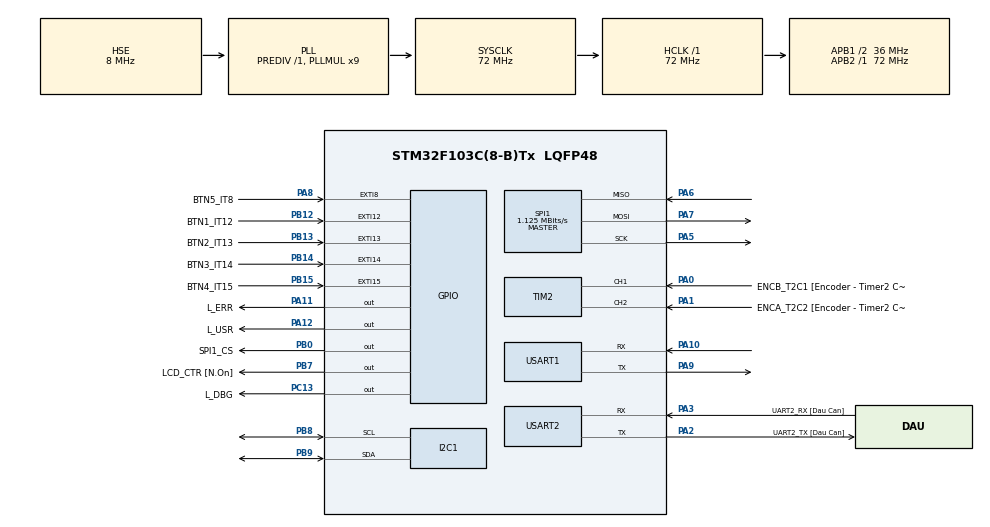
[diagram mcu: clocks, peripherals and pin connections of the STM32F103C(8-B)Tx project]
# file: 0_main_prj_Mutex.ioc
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FREERTOS.BinarySemaphores01=myBinarySem01,Dynamic,NULL
FREERTOS.Mutexes01=myMutex01,Dynamic,NULL
FREERTOS.Tasks01=Task1,0,128,StartTask1_Hand,Default,NULL,Dynamic,NULL,NULL;Task2,0,128,StartTask2_Hand,Default,NULL,Dynamic,NULL,NULL;Task03,0,128,StartTask03,Default,NULL,Dynamic,NULL,NULL
Mcu.Family=STM32F1
Mcu.Name=STM32F103C(8-B)Tx
Mcu.Package=LQFP48
NVIC.EXTI15_10_IRQn=true\:5\:0\:true\:false\:true\:true\:true\:true\:true
NVIC.EXTI9_5_IRQn=true\:5\:0\:true\:false\:true\:true\:true\:true\:true
NVIC.PriorityGroup=NVIC_PRIORITYGROUP_4
NVIC.TIM3_IRQn=true\:15\:0\:false\:false\:true\:false\:false\:true\:true
NVIC.TimeBase=TIM3_IRQn
NVIC.TimeBaseIP=TIM3
NVIC.USART1_IRQn=true\:5\:0\:false\:false\:true\:true\:true\:true\:true
NVIC.USART2_IRQn=true\:5\:0\:false\:false\:true\:true\:true\:true\:true
PA0-WKUP.GPIO_Label=ENCB_T2C1 [Encoder - Timer2 Channel1]
PA0-WKUP.Signal=S_TIM2_CH1_ETR
PA1.GPIO_Label=ENCA_T2C2 [Encoder - Timer2 Channel2]
PA1.Signal=S_TIM2_CH2
PA10.Mode=Asynchronous
PA10.Signal=USART1_RX
PA11.GPIO_Label=L_ERR
PA11.GPIO_PuPd=GPIO_PULLUP
PA11.Signal=GPIO_Output
PA12.GPIO_Label=L_USR
PA12.GPIO_PuPd=GPIO_PULLUP
PA12.Signal=GPIO_Output
PA13.Mode=Serial_Wire
PA13.Signal=SYS_JTMS-SWDIO
PA14.Mode=Serial_Wire
PA14.Signal=SYS_JTCK-SWCLK
PA2.GPIO_Label=UART2_TX [Dau Can]
PA2.Mode=Asynchronous
PA2.Signal=USART2_TX
PA3.GPIO_Label=UART2_RX [Dau Can]
PA3.Mode=Asynchronous
PA3.Signal=USART2_RX
PA5.Mode=Full_Duplex_Master
PA5.Signal=SPI1_SCK
PA6.Mode=Full_Duplex_Master
PA6.Signal=SPI1_MISO
PA7.Mode=Full_Duplex_Master
PA7.Signal=SPI1_MOSI
PA8.GPIO_Label=BTN5_IT8
PA8.GPIO_ModeDefaultEXTI=GPIO_MODE_IT_FALLING
PA8.GPIO_PuPd=GPIO_NOPULL
PA8.Signal=GPXTI8
PA9.Mode=Asynchronous
PA9.Signal=USART1_TX
PB0.GPIO_Label=SPI1_CS
PB0.Signal=GPIO_Output
PB12.GPIO_Label=BTN1_IT12
PB12.GPIO_ModeDefaultEXTI=GPIO_MODE_IT_FALLING
PB12.GPIO_PuPd=GPIO_NOPULL
PB12.Signal=GPXTI12
PB13.GPIO_Label=BTN2_IT13
PB13.GPIO_ModeDefaultEXTI=GPIO_MODE_IT_FALLING
PB13.GPIO_PuPd=GPIO_NOPULL
PB13.Signal=GPXTI13
PB14.GPIO_Label=BTN3_IT14
PB14.GPIO_ModeDefaultEXTI=GPIO_MODE_IT_FALLING
PB14.GPIO_PuPd=GPIO_NOPULL
PB14.Signal=GPXTI14
PB15.GPIO_Label=BTN4_IT15
PB15.GPIO_ModeDefaultEXTI=GPIO_MODE_IT_FALLING
PB15.GPIO_PuPd=GPIO_NOPULL
PB15.Signal=GPXTI15
PB7.GPIO_Label=LCD_CTR [N.On]
PB7.GPIO_PuPd=GPIO_PULLUP
PB7.Signal=GPIO_Output
PB8.Mode=I2C
PB8.Signal=I2C1_SCL
PB9.Mode=I2C
PB9.Signal=I2C1_SDA
PC13-TAMPER-RTC.GPIO_Label=L_DBG
PC13-TAMPER-RTC.GPIO_PuPd=GPIO_PULLUP
PC13-TAMPER-RTC.Signal=GPIO_Output
PC14-OSC32_IN.Mode=LSE-External-Oscillator
PC14-OSC32_IN.Signal=RCC_OSC32_IN
PC15-OSC32_OUT.Mode=LSE-External-Oscillator
PC15-OSC32_OUT.Signal=RCC_OSC32_OUT
PD0-OSC_IN.Mode=HSE-External-Oscillator
PD0-OSC_IN.Signal=RCC_OSC_IN
PD1-OSC_OUT.Mode=HSE-External-Oscillator
PD1-OSC_OUT.Signal=RCC_OSC_OUT
ProjectManager.HeapSize=0x200
ProjectManager.StackSize=0x400
ProjectManager.TargetToolchain=STM32CubeIDE
RCC.AHBFreq_Value=72000000
RCC.APB1CLKDivider=RCC_HCLK_DIV2
RCC.APB1Freq_Value=36000000
RCC.APB1TimFreq_Value=72000000
RCC.APB2Freq_Value=72000000
RCC.APB2TimFreq_Value=72000000
RCC.HCLKFreq_Value=72000000
RCC.PLLMUL=RCC_PLL_MUL9
RCC.PLLSourceVirtual=RCC_PLLSOURCE_HSE
RCC.SYSCLKFreq_VALUE=72000000
RCC.SYSCLKSource=RCC_SYSCLKSOURCE_PLLCLK
RCC.USBFreq_Value=48000000
RCC.USBPrescaler=RCC_USBCLKSOURCE_PLL_DIV1_5
SH.S_TIM2_CH1_ETR.0=TIM2_CH1,Encoder_Interface
SH.S_TIM2_CH2.0=TIM2_CH2,Encoder_Interface
SPI1.BaudRatePrescaler=SPI_BAUDRATEPRESCALER_64
SPI1.CalculateBaudRate=1.125 MBits/s
SPI1.Direction=SPI_DIRECTION_2LINES
SPI1.Mode=SPI_MODE_MASTER
SPI1.VirtualType=VM_MASTER
TIM2.EncoderMode=TIM_ENCODERMODE_TI1
USART1.VirtualMode=VM_ASYNC
USART2.VirtualMode=VM_ASYNC
VP_FREERTOS_VS_CMSIS_V1.Mode=CMSIS_V1
VP_SYS_VS_tim3.Mode=TIM3
VP_TIM1_VS_ClockSourceINT.Mode=Internal
board=custom

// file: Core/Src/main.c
/* USER CODE BEGIN Header */
/**
  ******************************************************************************
  * @file           : main.c
  * @brief          : Main program body
  ******************************************************************************
  * @attention
  *
  * Copyright (c) 2024 STMicroelectronics.
  * All rights reserved.
  *
  * This software is licensed under terms that can be found in the LICENSE file
  * in the root directory of this software component.
  * If no LICENSE file comes with this software, it is provided AS-IS.
  *
  ******************************************************************************
  */
/* USER CODE END Header */
#include "main.h"
#include "cmsis_os.h"

/* USER CODE BEGIN Includes */
#include "stdio.h"
#include "i2c-lcd.h"

/* USER CODE END Includes */

/* USER CODE BEGIN PTD */
#define ADDR_PCF8574 (0x3F << 1)
#define MUTEX (0)
#define SEMAF (1)
/* USER CODE END PTD */

/* USER CODE BEGIN PM */
void Init_Sys (void)
{
	HAL_GPIO_WritePin(L_ERR_GPIO_Port, L_ERR_Pin, GPIO_PIN_SET);
	HAL_GPIO_WritePin(L_USR_GPIO_Port, L_USR_Pin, GPIO_PIN_SET);
	HAL_GPIO_WritePin(L_DBG_GPIO_Port, L_DBG_Pin, GPIO_PIN_SET);

	HAL_GPIO_WritePin(LCD_CTR_GPIO_Port, LCD_CTR_Pin, GPIO_PIN_SET);
}
/* USER CODE END PM */

I2C_HandleTypeDef hi2c1;

SPI_HandleTypeDef hspi1;

TIM_HandleTypeDef htim1;
TIM_HandleTypeDef htim2;

UART_HandleTypeDef huart1;
UART_HandleTypeDef huart2;

osThreadId Task1Handle;
osThreadId Task2Handle;
osThreadId Task03Handle;
osMutexId myMutex01Handle;
osSemaphoreId myBinarySem01Handle;

void SystemClock_Config(void);
static void MX_GPIO_Init(void);
static void MX_SPI1_Init(void);
static void MX_TIM2_Init(void);
static void MX_USART1_UART_Init(void);
static void MX_TIM1_Init(void);
static void MX_I2C1_Init(void);
static void MX_USART2_UART_Init(void);
void StartTask1_Hand(void const * argument);
void StartTask2_Hand(void const * argument);
void StartTask03(void const * argument);

/* USER CODE BEGIN PFP */

#if (TEST_UART)
uint8_t rxData = 0;;
uint8_t rxArray[20] = {};
uint8_t rxCounter = 1;

void HAL_UART_RxCpltCallback(UART_HandleTypeDef *huart)
{
	if(&huart1 == huart)
	{

		if(rxData == '\r')
		{
			HAL_UART_Transmit(&huart1, rxArray, strlen((const char *)rxArray), 100);
			for(uint8_t i = 0; i < 20; i++)
			{
				rxArray[i] = 0;
				rxCounter = 0;
			}
		}
		else
		{
			rxArray[rxCounter] = rxData;
			rxCounter++;
		}
		if(rxCounter >= 20)
		{
			rxCounter = 0;
		}
		HAL_UART_Receive_IT(&huart1, &rxData, 1);
	}
	else if(&huart2 == huart)
	{
		if(rxData == '\r')
		{
			HAL_UART_Transmit(&huart2, rxArray, strlen((const char *)rxArray), 100);
			for(uint8_t i = 0; i < 20; i++)
			{
				rxArray[i] = 0;
				rxCounter = 0;
			}
		}
		else
		{
			rxArray[rxCounter] = rxData;
			rxCounter++;
		}
		if(rxCounter >= 20)
		{
			rxCounter = 0;
		}
		HAL_UART_Receive_IT(&huart2, &rxData, 1);
	}

}

void Task_action(char* sms)
{
	HAL_UART_Transmit(&huart1, sms, strlen(sms), 100);
	HAL_UART_Transmit(&huart1, "\n", 1, 100);
}
#endif /*TEST_UART*/
/* USER CODE END PFP */

int main(void)
{

  /* USER CODE BEGIN 1 */
	CLCD_I2C_Name LCD1;
  /* USER CODE END 1 */

  /* MCU Configuration--------------------------------------------------------*/

  /* Reset of all peripherals, Initializes the Flash interface and the Systick. */
  HAL_Init();

  /* Configure the system clock */
  SystemClock_Config();

  /* Initialize all configured peripherals */
  MX_GPIO_Init();
  MX_SPI1_Init();
  MX_TIM2_Init();
  MX_USART1_UART_Init();
  MX_TIM1_Init();
  MX_I2C1_Init();
  MX_USART2_UART_Init();
  /* USER CODE BEGIN 2 */
  Init_Sys();

  HAL_GPIO_WritePin(LCD_CTR_GPIO_Port, LCD_CTR_Pin, GPIO_PIN_RESET);

  CLCD_I2C_Init(&LCD1,&hi2c1,ADDR_PCF8574,20,4);
//  LCD_I2C_Init();

#if (TEST_UART)
  HAL_UART_Receive_IT(&huart1, &rxData, 1);
  HAL_UART_Receive_IT(&huart2, &rxData, 1);
#endif

  /* USER CODE END 2 */

  /* Create the mutex(es) */
  /* definition and creation of myMutex01 */
  osMutexDef(myMutex01);
  myMutex01Handle = osMutexCreate(osMutex(myMutex01));

  /* Create the semaphores(s) */
  /* definition and creation of myBinarySem01 */
  osSemaphoreDef(myBinarySem01);
  myBinarySem01Handle = osSemaphoreCreate(osSemaphore(myBinarySem01), 1);

  /* Create the thread(s) */
  /* definition and creation of Task1 */
  osThreadDef(Task1, StartTask1_Hand, osPriorityNormal, 0, 128);
  Task1Handle = osThreadCreate(osThread(Task1), NULL);

  /* definition and creation of Task2 */
  osThreadDef(Task2, StartTask2_Hand, osPriorityNormal, 0, 128);
  Task2Handle = osThreadCreate(osThread(Task2), NULL);

  /* definition and creation of Task03 */
  osThreadDef(Task03, StartTask03, osPriorityNormal, 0, 128);
  Task03Handle = osThreadCreate(osThread(Task03), NULL);

  /* Start scheduler */
  osKernelStart();

  /* We should never get here as control is now taken by the scheduler */

  /* Infinite loop */
  /* USER CODE BEGIN WHILE */
  while (1)
  {
#if (TEST_LED)
	  HAL_GPIO_TogglePin(L_ERR_GPIO_Port, L_ERR_Pin);
	  HAL_GPIO_TogglePin(L_DBG_GPIO_Port, L_DBG_Pin);
	  HAL_GPIO_TogglePin(L_USR_GPIO_Port, L_USR_Pin);

	  HAL_Delay(1000);
#endif

#if (TEST_LCD)
	  CLCD_I2C_SetCursor(&LCD1, 0, 0);
	  CLCD_I2C_WriteString(&LCD1, "ThuanLe");

	  CLCD_I2C_SetCursor(&LCD1, 0, 1);
	  CLCD_I2C_WriteString(&LCD1, "21CDTCLC2");

	  CLCD_I2C_SetCursor(&LCD1, 0, 2);
	  CLCD_I2C_WriteString(&LCD1, "GIAM SAT LOI DC");

	  CLCD_I2C_SetCursor(&LCD1, 0, 3);
	  CLCD_I2C_WriteString(&LCD1, "12345678");

	  HAL_Delay(1000);

	  CLCD_I2C_Clear(&LCD1);

#endif

    /* USER CODE END WHILE */

  }
}

void SystemClock_Config(void)
{
  RCC_OscInitTypeDef RCC_OscInitStruct = {0};
  RCC_ClkInitTypeDef RCC_ClkInitStruct = {0};

  /** Initializes the RCC Oscillators according to the specified parameters
  * in the RCC_OscInitTypeDef structure.
  */
  RCC_OscInitStruct.OscillatorType = RCC_OSCILLATORTYPE_HSE;
  RCC_OscInitStruct.HSEState = RCC_HSE_ON;
  RCC_OscInitStruct.HSEPredivValue = RCC_HSE_PREDIV_DIV1;
  RCC_OscInitStruct.HSIState = RCC_HSI_ON;
  RCC_OscInitStruct.PLL.PLLState = RCC_PLL_ON;
  RCC_OscInitStruct.PLL.PLLSource = RCC_PLLSOURCE_HSE;
  RCC_OscInitStruct.PLL.PLLMUL = RCC_PLL_MUL9;
  if (HAL_RCC_OscConfig(&RCC_OscInitStruct) != HAL_OK)
  {
    Error_Handler();
  }

  /** Initializes the CPU, AHB and APB buses clocks
  */
  RCC_ClkInitStruct.ClockType = RCC_CLOCKTYPE_HCLK|RCC_CLOCKTYPE_SYSCLK
                              |RCC_CLOCKTYPE_PCLK1|RCC_CLOCKTYPE_PCLK2;
  RCC_ClkInitStruct.SYSCLKSource = RCC_SYSCLKSOURCE_PLLCLK;
  RCC_ClkInitStruct.AHBCLKDivider = RCC_SYSCLK_DIV1;
  RCC_ClkInitStruct.APB1CLKDivider = RCC_HCLK_DIV2;
  RCC_ClkInitStruct.APB2CLKDivider = RCC_HCLK_DIV1;

  if (HAL_RCC_ClockConfig(&RCC_ClkInitStruct, FLASH_LATENCY_2) != HAL_OK)
  {
    Error_Handler();
  }
}

static void MX_I2C1_Init(void)
{

  hi2c1.Instance = I2C1;
  hi2c1.Init.ClockSpeed = 100000;
  hi2c1.Init.DutyCycle = I2C_DUTYCYCLE_2;
  hi2c1.Init.OwnAddress1 = 0;
  hi2c1.Init.AddressingMode = I2C_ADDRESSINGMODE_7BIT;
  hi2c1.Init.DualAddressMode = I2C_DUALADDRESS_DISABLE;
  hi2c1.Init.OwnAddress2 = 0;
  hi2c1.Init.GeneralCallMode = I2C_GENERALCALL_DISABLE;
  hi2c1.Init.NoStretchMode = I2C_NOSTRETCH_DISABLE;
  if (HAL_I2C_Init(&hi2c1) != HAL_OK)
  {
    Error_Handler();
  }

}

static void MX_SPI1_Init(void)
{

  /* SPI1 parameter configuration*/
  hspi1.Instance = SPI1;
  hspi1.Init.Mode = SPI_MODE_MASTER;
  hspi1.Init.Direction = SPI_DIRECTION_2LINES;
  hspi1.Init.DataSize = SPI_DATASIZE_8BIT;
  hspi1.Init.CLKPolarity = SPI_POLARITY_LOW;
  hspi1.Init.CLKPhase = SPI_PHASE_1EDGE;
  hspi1.Init.NSS = SPI_NSS_SOFT;
  hspi1.Init.BaudRatePrescaler = SPI_BAUDRATEPRESCALER_64;
  hspi1.Init.FirstBit = SPI_FIRSTBIT_MSB;
  hspi1.Init.TIMode = SPI_TIMODE_DISABLE;
  hspi1.Init.CRCCalculation = SPI_CRCCALCULATION_DISABLE;
  hspi1.Init.CRCPolynomial = 10;
  if (HAL_SPI_Init(&hspi1) != HAL_OK)
  {
    Error_Handler();
  }

}

static void MX_TIM1_Init(void)
{

  TIM_ClockConfigTypeDef sClockSourceConfig = {0};
  TIM_MasterConfigTypeDef sMasterConfig = {0};

  htim1.Instance = TIM1;
  htim1.Init.Prescaler = 0;
  htim1.Init.CounterMode = TIM_COUNTERMODE_UP;
  htim1.Init.Period = 65535;
  htim1.Init.ClockDivision = TIM_CLOCKDIVISION_DIV1;
  htim1.Init.RepetitionCounter = 0;
  htim1.Init.AutoReloadPreload = TIM_AUTORELOAD_PRELOAD_DISABLE;
  if (HAL_TIM_Base_Init(&htim1) != HAL_OK)
  {
    Error_Handler();
  }
  sClockSourceConfig.ClockSource = TIM_CLOCKSOURCE_INTERNAL;
  if (HAL_TIM_ConfigClockSource(&htim1, &sClockSourceConfig) != HAL_OK)
  {
    Error_Handler();
  }
  sMasterConfig.MasterOutputTrigger = TIM_TRGO_RESET;
  sMasterConfig.MasterSlaveMode = TIM_MASTERSLAVEMODE_DISABLE;
  if (HAL_TIMEx_MasterConfigSynchronization(&htim1, &sMasterConfig) != HAL_OK)
  {
    Error_Handler();
  }

}

static void MX_TIM2_Init(void)
{

  TIM_Encoder_InitTypeDef sConfig = {0};
  TIM_MasterConfigTypeDef sMasterConfig = {0};

  htim2.Instance = TIM2;
  htim2.Init.Prescaler = 0;
  htim2.Init.CounterMode = TIM_COUNTERMODE_UP;
  htim2.Init.Period = 65535;
  htim2.Init.ClockDivision = TIM_CLOCKDIVISION_DIV1;
  htim2.Init.AutoReloadPreload = TIM_AUTORELOAD_PRELOAD_DISABLE;
  sConfig.EncoderMode = TIM_ENCODERMODE_TI1;
  sConfig.IC1Polarity = TIM_ICPOLARITY_RISING;
  sConfig.IC1Selection = TIM_ICSELECTION_DIRECTTI;
  sConfig.IC1Prescaler = TIM_ICPSC_DIV1;
  sConfig.IC1Filter = 0;
  sConfig.IC2Polarity = TIM_ICPOLARITY_RISING;
  sConfig.IC2Selection = TIM_ICSELECTION_DIRECTTI;
  sConfig.IC2Prescaler = TIM_ICPSC_DIV1;
  sConfig.IC2Filter = 0;
  if (HAL_TIM_Encoder_Init(&htim2, &sConfig) != HAL_OK)
  {
    Error_Handler();
  }
  sMasterConfig.MasterOutputTrigger = TIM_TRGO_RESET;
  sMasterConfig.MasterSlaveMode = TIM_MASTERSLAVEMODE_DISABLE;
  if (HAL_TIMEx_MasterConfigSynchronization(&htim2, &sMasterConfig) != HAL_OK)
  {
    Error_Handler();
  }

}

static void MX_USART1_UART_Init(void)
{

  huart1.Instance = USART1;
  huart1.Init.BaudRate = 115200;
  huart1.Init.WordLength = UART_WORDLENGTH_8B;
  huart1.Init.StopBits = UART_STOPBITS_1;
  huart1.Init.Parity = UART_PARITY_NONE;
  huart1.Init.Mode = UART_MODE_TX_RX;
  huart1.Init.HwFlowCtl = UART_HWCONTROL_NONE;
  huart1.Init.OverSampling = UART_OVERSAMPLING_16;
  if (HAL_UART_Init(&huart1) != HAL_OK)
  {
    Error_Handler();
  }

}

static void MX_USART2_UART_Init(void)
{

  huart2.Instance = USART2;
  huart2.Init.BaudRate = 115200;
  huart2.Init.WordLength = UART_WORDLENGTH_8B;
  huart2.Init.StopBits = UART_STOPBITS_1;
  huart2.Init.Parity = UART_PARITY_NONE;
  huart2.Init.Mode = UART_MODE_TX_RX;
  huart2.Init.HwFlowCtl = UART_HWCONTROL_NONE;
  huart2.Init.OverSampling = UART_OVERSAMPLING_16;
  if (HAL_UART_Init(&huart2) != HAL_OK)
  {
    Error_Handler();
  }

}

static void MX_GPIO_Init(void)
{
  GPIO_InitTypeDef GPIO_InitStruct = {0};

  /* GPIO Ports Clock Enable */
  __HAL_RCC_GPIOC_CLK_ENABLE();
  __HAL_RCC_GPIOD_CLK_ENABLE();
  __HAL_RCC_GPIOA_CLK_ENABLE();
  __HAL_RCC_GPIOB_CLK_ENABLE();

  /*Configure GPIO pin Output Level */
  HAL_GPIO_WritePin(L_DBG_GPIO_Port, L_DBG_Pin, GPIO_PIN_RESET);

  /*Configure GPIO pin Output Level */
  HAL_GPIO_WritePin(GPIOB, SPI1_CS_Pin|LCD_CTR_Pin, GPIO_PIN_RESET);

  /*Configure GPIO pin Output Level */
  HAL_GPIO_WritePin(GPIOA, L_ERR_Pin|L_USR_Pin, GPIO_PIN_RESET);

  /*Configure GPIO pin : L_DBG_Pin */
  GPIO_InitStruct.Pin = L_DBG_Pin;
  GPIO_InitStruct.Mode = GPIO_MODE_OUTPUT_PP;
  GPIO_InitStruct.Pull = GPIO_PULLUP;
  GPIO_InitStruct.Speed = GPIO_SPEED_FREQ_LOW;
  HAL_GPIO_Init(L_DBG_GPIO_Port, &GPIO_InitStruct);

  /*Configure GPIO pin : SPI1_CS_Pin */
  GPIO_InitStruct.Pin = SPI1_CS_Pin;
  GPIO_InitStruct.Mode = GPIO_MODE_OUTPUT_PP;
  GPIO_InitStruct.Pull = GPIO_NOPULL;
  GPIO_InitStruct.Speed = GPIO_SPEED_FREQ_LOW;
  HAL_GPIO_Init(SPI1_CS_GPIO_Port, &GPIO_InitStruct);

  /*Configure GPIO pins : BTN1_IT12_Pin BTN2_IT13_Pin BTN3_IT14_Pin BTN4_IT15_Pin */
  GPIO_InitStruct.Pin = BTN1_IT12_Pin|BTN2_IT13_Pin|BTN3_IT14_Pin|BTN4_IT15_Pin;
  GPIO_InitStruct.Mode = GPIO_MODE_IT_FALLING;
  GPIO_InitStruct.Pull = GPIO_NOPULL;
  HAL_GPIO_Init(GPIOB, &GPIO_InitStruct);

  /*Configure GPIO pin : BTN5_IT8_Pin */
  GPIO_InitStruct.Pin = BTN5_IT8_Pin;
  GPIO_InitStruct.Mode = GPIO_MODE_IT_FALLING;
  GPIO_InitStruct.Pull = GPIO_NOPULL;
  HAL_GPIO_Init(BTN5_IT8_GPIO_Port, &GPIO_InitStruct);

  /*Configure GPIO pins : L_ERR_Pin L_USR_Pin */
  GPIO_InitStruct.Pin = L_ERR_Pin|L_USR_Pin;
  GPIO_InitStruct.Mode = GPIO_MODE_OUTPUT_PP;
  GPIO_InitStruct.Pull = GPIO_PULLUP;
  GPIO_InitStruct.Speed = GPIO_SPEED_FREQ_LOW;
  HAL_GPIO_Init(GPIOA, &GPIO_InitStruct);

  /*Configure GPIO pin : LCD_CTR_Pin */
  GPIO_InitStruct.Pin = LCD_CTR_Pin;
  GPIO_InitStruct.Mode = GPIO_MODE_OUTPUT_PP;
  GPIO_InitStruct.Pull = GPIO_PULLUP;
  GPIO_InitStruct.Speed = GPIO_SPEED_FREQ_LOW;
  HAL_GPIO_Init(LCD_CTR_GPIO_Port, &GPIO_InitStruct);

  /* EXTI interrupt init*/
  HAL_NVIC_SetPriority(EXTI9_5_IRQn, 5, 0);
  HAL_NVIC_EnableIRQ(EXTI9_5_IRQn);

  HAL_NVIC_SetPriority(EXTI15_10_IRQn, 5, 0);
  HAL_NVIC_EnableIRQ(EXTI15_10_IRQn);

}

void StartTask1_Hand(void const * argument)
{
  /* USER CODE BEGIN 5 */
	uint8_t idx = 0;
  /* Infinite loop */
  for(;;)
  {
#if MUTEX
	  osMutexWait(myMutex01Handle, osWaitForever);
	  Task_action("1");
	  if(3 == idx)
	  {
		  osThreadSetPriority(Task1Handle, osPriorityLow);
	  }
	  idx++;
	  osMutexRelease(myMutex01Handle);

	  HAL_Delay(500);
#endif

#if SEMAF
	  osMutexWait(myMutex01Handle, osWaitForever);
	  Task_action("1");
	  if(3 == idx)
	  {
		  osThreadSetPriority(Task1Handle, osPriorityLow);
	  }
	  idx++;
	  osMutexRelease(myMutex01Handle);

	  HAL_Delay(500);
#endif
  }
  /* USER CODE END 5 */
}

void StartTask2_Hand(void const * argument)
{
  /* USER CODE BEGIN StartTask2_Hand */
  /* Infinite loop */
  for(;;)
  {
#if MUTEX
	  // osDelay(2000);
	  osMutexWait(myMutex01Handle, 1000);
	  Task_action("2");
	  osMutexRelease(myMutex01Handle);
	  HAL_Delay(500);
#endif

#if SEMAF

#endif
  }
  /* USER CODE END StartTask2_Hand */
}

void StartTask03(void const * argument)
{
  /* USER CODE BEGIN StartTask03 */
  /* Infinite loop */
  for(;;)
  {
#if MUTEX
	  Task_action("3");
	  HAL_Delay(500);
#endif

#if SEMAF

#endif
  }
  /* USER CODE END StartTask03 */
}

void HAL_TIM_PeriodElapsedCallback(TIM_HandleTypeDef *htim)
{
  if (htim->Instance == TIM3) {
    HAL_IncTick();
  }
}

void Error_Handler(void)
{
  __disable_irq();
  while (1)
  {
  }
}
